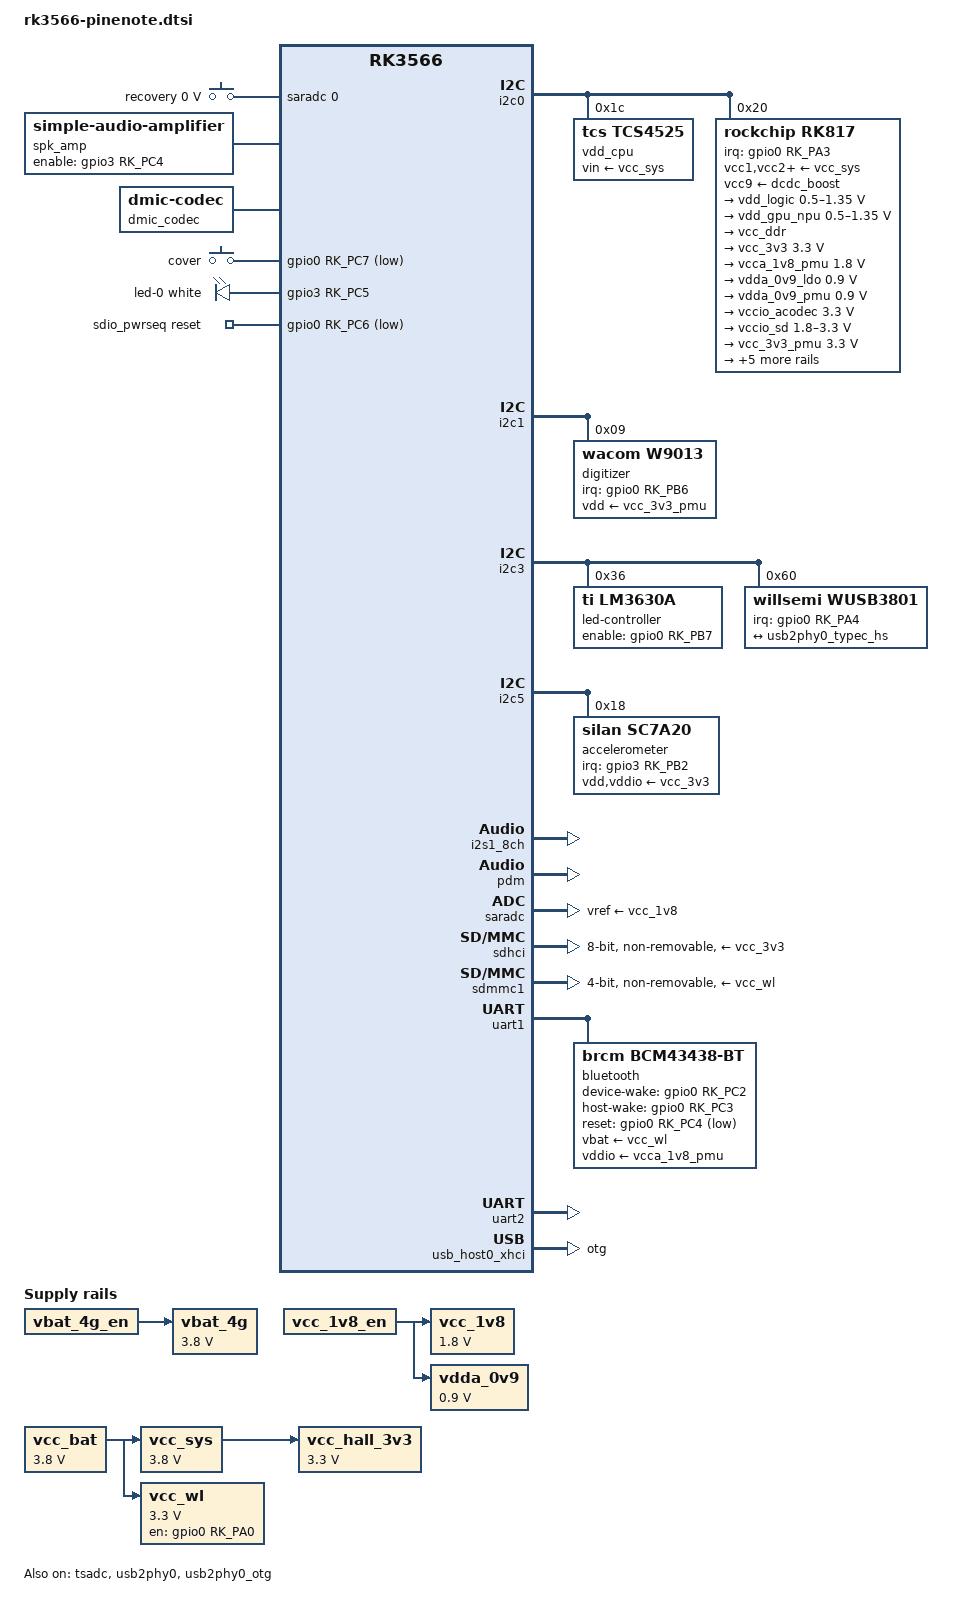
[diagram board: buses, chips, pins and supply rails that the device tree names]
// SPDX-License-Identifier: (GPL-2.0+ OR MIT)

#include <dt-bindings/gpio/gpio.h>
#include <dt-bindings/input/gpio-keys.h>
#include <dt-bindings/input/input.h>
#include <dt-bindings/leds/common.h>
#include <dt-bindings/pinctrl/rockchip.h>

#include "rk3566.dtsi"

/ {
	aliases {
		mmc0 = &sdhci;
	};

	chosen {
		stdout-path = "serial2:1500000n8";
	};

	adc-keys {
		compatible = "adc-keys";
		io-channels = <&saradc 0>;
		io-channel-names = "buttons";
		keyup-threshold-microvolt = <1750000>;

		button-recovery {
			label = "recovery";
			linux,code = <KEY_VENDOR>;
			press-threshold-microvolt = <0>;
		};
	};

	spk_amp: audio-amplifier {
		compatible = "simple-audio-amplifier";
		enable-gpios = <&gpio3 RK_PC4 GPIO_ACTIVE_HIGH>;
		pinctrl-0 = <&spk_amp_enable_h>;
		pinctrl-names = "default";
		sound-name-prefix = "Speaker Amp";
	};

	dmic_codec: dmic-codec {
		compatible = "dmic-codec";
		num-channels = <6>;
		#sound-dai-cells = <0>;
	};

	gpio-keys {
		compatible = "gpio-keys";
		pinctrl-0 = <&hall_int_l>;
		pinctrl-names = "default";

		switch-cover {
			label = "cover";
			gpios = <&gpio0 RK_PC7 GPIO_ACTIVE_LOW>;
			linux,input-type = <EV_SW>;
			linux,code = <SW_MACHINE_COVER>;
			linux,can-disable;
			wakeup-event-action = <EV_ACT_DEASSERTED>;
			wakeup-source;
		};
	};

	gpio-leds {
		compatible = "gpio-leds";
		pinctrl-0 = <&led_pin>;
		pinctrl-names = "default";

		led-0 {
			color = <LED_COLOR_ID_WHITE>;
			function = LED_FUNCTION_CHARGING;
			gpios = <&gpio3 RK_PC5 GPIO_ACTIVE_HIGH>;
		};
	};

	sdio_pwrseq: sdio-pwrseq {
		compatible = "mmc-pwrseq-simple";
		clocks = <&rk817 1>;
		clock-names = "ext_clock";
		pinctrl-0 = <&wifi_enable_h>;
		pinctrl-names = "default";
		reset-gpios = <&gpio0 RK_PC6 GPIO_ACTIVE_LOW>;
	};

	sound {
		compatible = "simple-audio-card";
		simple-audio-card,name = "PineNote";
		simple-audio-card,aux-devs = <&spk_amp>;
		simple-audio-card,widgets = "Headphone", "Headphones",
					    "Speaker", "Internal Speakers";
		simple-audio-card,routing = "Headphones", "HPOL",
					    "Headphones", "HPOR",
					    "Internal Speakers", "Speaker Amp OUTL",
					    "Internal Speakers", "Speaker Amp OUTR",
					    "Speaker Amp INL", "HPOL",
					    "Speaker Amp INR", "HPOR";
		simple-audio-card,pin-switches = "Internal Speakers";
		#address-cells = <1>;
		#size-cells = <0>;

		simple-audio-card,dai-link@0 {
			reg = <0>;
			bitclock-master = <&link0_cpu>;
			format = "i2s";
			frame-master = <&link0_cpu>;
			mclk-fs = <256>;

			link0_cpu: cpu {
				sound-dai = <&i2s1_8ch>;
			};

			link0_codec: codec {
				sound-dai = <&rk817>;
			};
		};

		simple-audio-card,dai-link@1 {
			reg = <1>;
			bitclock-master = <&link1_cpu>;
			format = "pdm";
			frame-master = <&link1_cpu>;

			link1_cpu: cpu {
				sound-dai = <&pdm>;
			};

			link1_codec: codec {
				sound-dai = <&dmic_codec>;
			};
		};
	};

	vbat_4g: vbat-4g {
		compatible = "regulator-fixed";
		regulator-name = "vbat_4g";
		regulator-min-microvolt = <3800000>;
		regulator-max-microvolt = <3800000>;
		/* powered by vcc_bat, enabled by vbat_4g_en */
		vin-supply = <&vbat_4g_en>;
	};

	vcc_1v8: vcc-1v8 {
		compatible = "regulator-fixed";
		regulator-name = "vcc_1v8";
		regulator-always-on;
		regulator-min-microvolt = <1800000>;
		regulator-max-microvolt = <1800000>;
		/* powered by vcc_sys, enabled by vcc_1v8_en */
		vin-supply = <&vcc_1v8_en>;
	};

	vcc_bat: vcc-bat {
		compatible = "regulator-fixed";
		regulator-name = "vcc_bat";
		regulator-always-on;
		regulator-min-microvolt = <3800000>;
		regulator-max-microvolt = <3800000>;
	};

	vcc_hall_3v3: vcc-hall-3v3 {
		compatible = "regulator-fixed";
		regulator-name = "vcc_hall_3v3";
		regulator-always-on;
		regulator-min-microvolt = <3300000>;
		regulator-max-microvolt = <3300000>;
		vin-supply = <&vcc_sys>;
	};

	vcc_sys: vcc-sys {
		compatible = "regulator-fixed";
		regulator-name = "vcc_sys";
		regulator-always-on;
		regulator-min-microvolt = <3800000>;
		regulator-max-microvolt = <3800000>;
		vin-supply = <&vcc_bat>;
	};

	vcc_wl: vcc-wl {
		compatible = "regulator-fixed";
		enable-active-high;
		gpio = <&gpio0 RK_PA0 GPIO_ACTIVE_HIGH>;
		pinctrl-0 = <&vcc_wl_pin>;
		pinctrl-names = "default";
		regulator-name = "vcc_wl";
		regulator-min-microvolt = <3300000>;
		regulator-max-microvolt = <3300000>;
		vin-supply = <&vcc_bat>;
	};

	vdda_0v9: vdda-0v9 {
		compatible = "regulator-fixed";
		regulator-name = "vdda_0v9";
		regulator-always-on;
		regulator-min-microvolt = <900000>;
		regulator-max-microvolt = <900000>;
		/* powered by vcc_sys, enabled by vcc_1v8_en */
		vin-supply = <&vcc_1v8_en>;
	};
};

&cpu0 {
	cpu-supply = <&vdd_cpu>;
};

&cpu1 {
	cpu-supply = <&vdd_cpu>;
};

&cpu2 {
	cpu-supply = <&vdd_cpu>;
};

&cpu3 {
	cpu-supply = <&vdd_cpu>;
};

&i2c0 {
	status = "okay";

	vdd_cpu: regulator@1c {
		compatible = "tcs,tcs4525";
		reg = <0x1c>;
		fcs,suspend-voltage-selector = <0>;
		regulator-name = "vdd_cpu";
		regulator-min-microvolt = <712500>;
		regulator-max-microvolt = <1390000>;
		regulator-ramp-delay = <2300>;
		regulator-always-on;
		vin-supply = <&vcc_sys>;

		regulator-state-mem {
			regulator-on-in-suspend;
		};
	};

	rk817: pmic@20 {
		compatible = "rockchip,rk817";
		reg = <0x20>;
		interrupt-parent = <&gpio0>;
		interrupts = <RK_PA3 IRQ_TYPE_LEVEL_LOW>;
		assigned-clocks = <&cru I2S1_MCLKOUT_TX>;
		assigned-clock-parents = <&cru CLK_I2S1_8CH_TX>;
		clocks = <&cru I2S1_MCLKOUT_TX>;
		clock-names = "mclk";
		#clock-cells = <1>;
		pinctrl-0 = <&i2s1m0_mclk>, <&pmic_int_l>, <&pmic_sleep>;
		pinctrl-names = "default";
		rockchip,system-power-controller;
		#sound-dai-cells = <0>;
		wakeup-source;

		vcc1-supply = <&vcc_sys>;
		vcc2-supply = <&vcc_sys>;
		vcc3-supply = <&vcc_sys>;
		vcc4-supply = <&vcc_sys>;
		vcc5-supply = <&vcc_sys>;
		vcc6-supply = <&vcc_sys>;
		vcc7-supply = <&vcc_sys>;
		vcc8-supply = <&vcc_sys>;
		vcc9-supply = <&dcdc_boost>;

		regulators {
			vdd_logic: DCDC_REG1 {
				regulator-name = "vdd_logic";
				regulator-always-on;
				regulator-min-microvolt = <500000>;
				regulator-max-microvolt = <1350000>;
				regulator-init-microvolt = <900000>;
				regulator-ramp-delay = <6001>;
				regulator-initial-mode = <0x2>;

				regulator-state-mem {
					regulator-off-in-suspend;
					regulator-suspend-microvolt = <900000>;
				};
			};

			vdd_gpu_npu: DCDC_REG2 {
				regulator-name = "vdd_gpu_npu";
				regulator-min-microvolt = <500000>;
				regulator-max-microvolt = <1350000>;
				regulator-init-microvolt = <900000>;
				regulator-ramp-delay = <6001>;
				regulator-initial-mode = <0x2>;

				regulator-state-mem {
					regulator-off-in-suspend;
				};
			};

			vcc_ddr: DCDC_REG3 {
				regulator-name = "vcc_ddr";
				regulator-always-on;
				regulator-initial-mode = <0x2>;

				regulator-state-mem {
					regulator-on-in-suspend;
				};
			};

			vcc_3v3: DCDC_REG4 {
				regulator-name = "vcc_3v3";
				regulator-always-on;
				regulator-min-microvolt = <3300000>;
				regulator-max-microvolt = <3300000>;
				regulator-initial-mode = <0x2>;

				regulator-state-mem {
					regulator-off-in-suspend;
				};
			};

			vcca_1v8_pmu: LDO_REG1 {
				regulator-name = "vcca_1v8_pmu";
				regulator-always-on;
				regulator-min-microvolt = <1800000>;
				regulator-max-microvolt = <1800000>;

				regulator-state-mem {
					regulator-on-in-suspend;
				};
			};

			/* unused */
			vdda_0v9_ldo: LDO_REG2 {
				regulator-name = "vdda_0v9_ldo";
				regulator-min-microvolt = <900000>;
				regulator-max-microvolt = <900000>;

				regulator-state-mem {
					regulator-off-in-suspend;
				};
			};

			vdda_0v9_pmu: LDO_REG3 {
				regulator-name = "vdda_0v9_pmu";
				regulator-always-on;
				regulator-min-microvolt = <900000>;
				regulator-max-microvolt = <900000>;

				regulator-state-mem {
					regulator-on-in-suspend;
				};
			};

			vccio_acodec: LDO_REG4 {
				regulator-name = "vccio_acodec";
				regulator-always-on;
				regulator-min-microvolt = <3300000>;
				regulator-max-microvolt = <3300000>;

				regulator-state-mem {
					regulator-off-in-suspend;
				};
			};

			/* unused */
			vccio_sd: LDO_REG5 {
				regulator-name = "vccio_sd";
				regulator-min-microvolt = <1800000>;
				regulator-max-microvolt = <3300000>;

				regulator-state-mem {
					regulator-off-in-suspend;
				};
			};

			vcc_3v3_pmu: LDO_REG6 {
				regulator-name = "vcc_3v3_pmu";
				regulator-always-on;
				regulator-min-microvolt = <3300000>;
				regulator-max-microvolt = <3300000>;

				regulator-state-mem {
					regulator-on-in-suspend;
				};
			};

			vcc_1v8_en: LDO_REG7 {
				regulator-name = "vcc_1v8_en";
				regulator-min-microvolt = <1800000>;
				regulator-max-microvolt = <1800000>;

				regulator-state-mem {
					regulator-off-in-suspend;
				};
			};

			vbat_4g_en: LDO_REG8 {
				regulator-name = "vbat_4g_en";
				regulator-min-microvolt = <1800000>;
				regulator-max-microvolt = <1800000>;

				regulator-state-mem {
					regulator-off-in-suspend;
				};
			};

			sleep_sta_ctl: LDO_REG9 {
				regulator-name = "sleep_sta_ctl";
				regulator-min-microvolt = <1800000>;
				regulator-max-microvolt = <1800000>;

				regulator-state-mem {
					regulator-on-in-suspend;
				};
			};

			dcdc_boost: BOOST {
				regulator-name = "boost";
				regulator-min-microvolt = <5000000>;
				regulator-max-microvolt = <5000000>;

				regulator-state-mem {
					regulator-off-in-suspend;
				};
			};

			otg_switch: OTG_SWITCH {
				regulator-name = "otg_switch";

				regulator-state-mem {
					regulator-off-in-suspend;
				};
			};
		};
	};
};

&i2c1 {
	status = "okay";

	digitizer@9 {
		compatible = "wacom,w9013", "hid-over-i2c";
		reg = <0x09>;
		interrupt-parent = <&gpio0>;
		interrupts = <RK_PB6 IRQ_TYPE_LEVEL_LOW>;
		hid-descr-addr = <0x1>;
		pinctrl-0 = <&pen_fwe>, <&pen_irq_l>, <&pen_rst_l>;
		pinctrl-names = "default";
		vdd-supply = <&vcc_3v3_pmu>;
	};
};

&i2c3 {
	pinctrl-0 = <&i2c3m1_xfer>;
	status = "okay";

	led-controller@36 {
		compatible = "ti,lm3630a";
		reg = <0x36>;
		enable-gpios = <&gpio0 RK_PB7 GPIO_ACTIVE_HIGH>;
		pinctrl-0 = <&backlight_hwen_h>;
		pinctrl-names = "default";
		#address-cells = <1>;
		#size-cells = <0>;

		led@0 {
			reg = <0>;
			label = "backlight_cool";
			default-brightness = <0>;
		};

		led@1 {
			reg = <1>;
			label = "backlight_warm";
			default-brightness = <0>;
		};
	};

	wusb3801: tcpc@60 {
		compatible = "willsemi,wusb3801";
		reg = <0x60>;
		interrupt-parent = <&gpio0>;
		interrupts = <RK_PA4 IRQ_TYPE_LEVEL_LOW>;
		pinctrl-0 = <&tcpc_int_l>;
		pinctrl-names = "default";

		connector {
			compatible = "usb-c-connector";
			label = "USB-C";
			vbus-supply = <&otg_switch>;
			power-role = "dual";
			try-power-role = "sink";
			data-role = "dual";
			typec-power-opmode = "default";
			pd-disable;

			ports {
				#address-cells = <0x1>;
				#size-cells = <0x0>;

				port@0 {
					reg = <0x0>;

					typec_hs_usb2phy0: endpoint {
						remote-endpoint = <&usb2phy0_typec_hs>;
					};
				};
			};
		};
	};
};

&i2c5 {
	status = "okay";

	accelerometer@18 {
		compatible = "silan,sc7a20";
		reg = <0x18>;
		interrupt-parent = <&gpio3>;
		interrupts = <RK_PB2 IRQ_TYPE_LEVEL_LOW>;
		pinctrl-0 = <&accelerometer_int_l>;
		pinctrl-names = "default";
		st,drdy-int-pin = <1>;
		vdd-supply = <&vcc_3v3>;
		vddio-supply = <&vcc_3v3>;
	};
};

&i2s1_8ch {
	pinctrl-0 = <&i2s1m0_lrcktx>, <&i2s1m0_sclktx>, <&i2s1m0_sdi0>, <&i2s1m0_sdo0>;
	rockchip,trcm-sync-tx-only;
	status = "okay";
};

&pdm {
	pinctrl-0 = <&pdmm0_clk1>, <&pdmm0_sdi1>, <&pdmm0_sdi2>;
	/* microphones are on channels 1 and 2 */
	rockchip,path-map = <1>, <2>, <0>, <3>;
	status = "okay";
};

&pinctrl {
	accelerometer {
		accelerometer_int_l: accelerometer-int-l {
			rockchip,pins = <3 RK_PB2 RK_FUNC_GPIO &pcfg_pull_none>;
		};
	};

	audio-amplifier {
		spk_amp_enable_h: spk-amp-enable-h {
			rockchip,pins = <3 RK_PC4 RK_FUNC_GPIO &pcfg_pull_none>;
		};
	};

	backlight {
		backlight_hwen_h: backlight-hwen-h {
			rockchip,pins = <0 RK_PB7 RK_FUNC_GPIO &pcfg_pull_none>;
		};
	};

	bt {
		bt_enable_h: bt-enable-h {
			rockchip,pins = <0 RK_PC4 RK_FUNC_GPIO &pcfg_pull_none>;
		};

		bt_host_wake_l: bt-host-wake-l {
			rockchip,pins = <0 RK_PC3 RK_FUNC_GPIO &pcfg_pull_up>;
		};

		bt_wake_h: bt-wake-h {
			rockchip,pins = <0 RK_PC2 RK_FUNC_GPIO &pcfg_pull_none>;
		};
	};

	led {
		led_pin: led-pin {
			rockchip,pins = <3 RK_PC5 RK_FUNC_GPIO &pcfg_pull_none>;
		};
	};

	hall {
		hall_int_l: hall-int-l {
			rockchip,pins = <0 RK_PC7 RK_FUNC_GPIO &pcfg_pull_none>;
		};
	};

	pen {
		pen_fwe: pen-fwe {
			rockchip,pins = <3 RK_PB7 RK_FUNC_GPIO &pcfg_pull_down>;
		};

		pen_irq_l: pen-irq-l {
			rockchip,pins = <0 RK_PB6 RK_FUNC_GPIO &pcfg_pull_none>;
		};

		pen_rst_l: pen-rst-l {
			rockchip,pins = <0 RK_PC1 RK_FUNC_GPIO &pcfg_pull_none>;
		};
	};

	pmic {
		pmic_int_l: pmic-int-l {
			rockchip,pins = <0 RK_PA3 RK_FUNC_GPIO &pcfg_pull_none>;
		};

		pmic_sleep: pmic-sleep {
			rockchip,pins = <0 RK_PA2 1 &pcfg_pull_none>;
		};
	};

	sdio-pwrseq {
		wifi_enable_h: wifi-enable-h {
			rockchip,pins = <0 RK_PC6 RK_FUNC_GPIO &pcfg_pull_none>;
		};
	};

	tcpc {
		tcpc_int_l: tcpc-int-l {
			rockchip,pins = <0 RK_PA4 RK_FUNC_GPIO &pcfg_pull_up>;
		};
	};

	vcc-wl {
		vcc_wl_pin: vcc-wl-pin {
			rockchip,pins = <0 RK_PA0 RK_FUNC_GPIO &pcfg_pull_none>;
		};
	};

	wifi {
		wifi_host_wake_l: wifi-host-wake-l {
			rockchip,pins = <0 RK_PC5 RK_FUNC_GPIO &pcfg_pull_up>;
		};
	};
};

&pmu_io_domains {
	pmuio1-supply = <&vcc_3v3_pmu>;
	pmuio2-supply = <&vcc_3v3_pmu>;
	vccio1-supply = <&vccio_acodec>;
	vccio2-supply = <&vcc_1v8>;
	vccio3-supply = <&vcc_3v3>;
	vccio4-supply = <&vcca_1v8_pmu>;
	vccio5-supply = <&vcc_3v3>;
	vccio6-supply = <&vcc_3v3>;
	status = "okay";
};

&saradc {
	vref-supply = <&vcc_1v8>;
	status = "okay";
};

&sdhci {
	bus-width = <8>;
	mmc-hs200-1_8v;
	non-removable;
	pinctrl-0 = <&emmc_bus8>, <&emmc_clk>, <&emmc_cmd>, <&emmc_datastrobe>, <&emmc_rstnout>;
	pinctrl-names = "default";
	vmmc-supply = <&vcc_3v3>;
	vqmmc-supply = <&vcc_1v8>;
	status = "okay";
};

&sdmmc1 {
	bus-width = <4>;
	cap-sd-highspeed;
	cap-sdio-irq;
	keep-power-in-suspend;
	mmc-pwrseq = <&sdio_pwrseq>;
	non-removable;
	pinctrl-0 = <&sdmmc1_bus4>, <&sdmmc1_clk>, <&sdmmc1_cmd>;
	pinctrl-names = "default";
	sd-uhs-sdr104;
	vmmc-supply = <&vcc_wl>;
	vqmmc-supply = <&vcca_1v8_pmu>;
	status = "okay";
};

&tsadc {
	/* tshut mode 0:CRU 1:GPIO */
	rockchip,hw-tshut-mode = <1>;
	/* tshut polarity 0:LOW 1:HIGH */
	rockchip,hw-tshut-polarity = <0>;
	status = "okay";
};

&uart1 {
	pinctrl-0 = <&uart1m0_ctsn>, <&uart1m0_rtsn>, <&uart1m0_xfer>;
	pinctrl-names = "default";
	uart-has-rtscts;
	status = "okay";

	bluetooth {
		compatible = "brcm,bcm43438-bt";
		clocks = <&rk817 1>;
		clock-names = "lpo";
		device-wake-gpios = <&gpio0 RK_PC2 GPIO_ACTIVE_HIGH>;
		host-wake-gpios = <&gpio0 RK_PC3 GPIO_ACTIVE_HIGH>;
		reset-gpios = <&gpio0 RK_PC4 GPIO_ACTIVE_LOW>;
		pinctrl-0 = <&bt_enable_h>, <&bt_host_wake_l>, <&bt_wake_h>;
		pinctrl-names = "default";
		vbat-supply = <&vcc_wl>;
		vddio-supply = <&vcca_1v8_pmu>;
	};
};

&uart2 {
	status = "okay";
};

&usb_host0_xhci {
	dr_mode = "otg";
	status = "okay";
};

&usb2phy0 {
	status = "okay";
};

&usb2phy0_otg {
	status = "okay";

	port {
		usb2phy0_typec_hs: endpoint {
			remote-endpoint = <&typec_hs_usb2phy0>;
		};
	};
};
